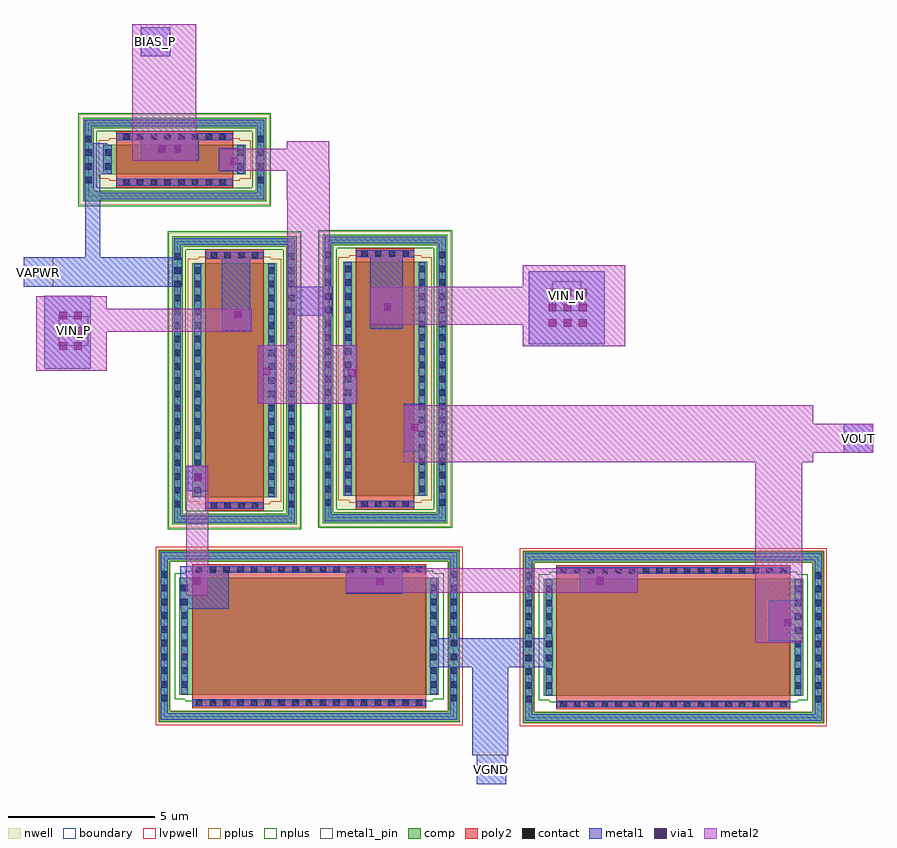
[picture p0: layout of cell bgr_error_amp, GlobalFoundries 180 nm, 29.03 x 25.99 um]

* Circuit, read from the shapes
.subckt bgr_error_amp BIAS_P VAPWR VGND VIN_N VIN_P VOUT
XM1 VGND n1 n1 VGND nfet_03v3 w=4u l=8u
XM2 VOUT n1 VGND VGND nfet_03v3 w=4u l=8u
XM3 n2 BIAS_P VAPWR VAPWR pfet_03v3 w=1u l=4u
XM4 n2 VIN_P n1 VAPWR pfet_03v3 w=8u l=2u
XM5 VOUT VIN_N n2 VAPWR pfet_03v3 w=8u l=2u
.ends

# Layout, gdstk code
from math import pi, radians
import gdstk
lib = gdstk.Library(unit=1e-6, precision=1e-09)
def R(c, l, rs):  # rectangles x0, y0, x1, y1
    for r in rs: c.add(gdstk.rectangle(r[:2], r[2:], *l))
def A(c, l, x, y, w, h, nx, ny, dx, dy):  # array of equal rectangles
    R(c, l, [(x+i*dx, y+j*dy, x+i*dx+w, y+j*dy+h) for i in range(nx) for j in range(ny)])
boundary = (0, 0)
nwell = (21, 0)
comp = (22, 0)
poly2 = (30, 0)
pplus = (31, 0)
nplus = (32, 0)
contact = (33, 0)
metal1 = (34, 0)
metal1_pin = (34, 10)
via1 = (35, 0)
metal2 = (36, 0)
lvpwell = (204, 0)

pfet_03v3_khy8t4 = lib.new_cell('pfet_03v3_KHY8T4')
R(pfet_03v3_khy8t4, boundary, [(-1.95,-4.75,1.95,4.75)])
R(pfet_03v3_khy8t4, nwell, [(-2.25,-5.05,2.25,5.05)])
R(pfet_03v3_khy8t4, comp, [(-2.13,-4.93,2.13,-4.57), (-2.13,-4.57,-1.77,4.57), (1.77,-4.57,2.13,4.57), (-1.44,-4,1.44,4), (-2.13,4.57,2.13,4.93)])
R(pfet_03v3_khy8t4, poly2, [(-1,-4.46,1,4.46)])
R(pfet_03v3_khy8t4, pplus, [(-1.23,-4.23,1.23,-4.16), (-1.6,-4.16,1.6,4.16), (-1.23,4.16,1.23,4.23)])
R(pfet_03v3_khy8t4, nplus, [(-2.29,-5.09,2.29,-4.46), (-2.29,-4.46,-1.66,4.46), (1.66,-4.46,2.29,4.46), (-2.29,4.46,2.29,5.09)])
A(pfet_03v3_khy8t4, contact, -0.815, -4.39, 0.22, 0.22, 4, 2, 0.47, 8.56)
A(pfet_03v3_khy8t4, contact, -2.06, -4.34, 0.22, 0.22, 1, 19, 0, 0.47)
A(pfet_03v3_khy8t4, contact, 1.84, -4.34, 0.22, 0.22, 1, 19, 0, 0.47)
A(pfet_03v3_khy8t4, contact, -1.37, -3.87, 0.22, 0.22, 1, 17, 0, 0.47)
A(pfet_03v3_khy8t4, contact, 1.15, -3.87, 0.22, 0.22, 1, 17, 0, 0.47)
R(pfet_03v3_khy8t4, metal1, [(-2.065,-4.865,2.065,-4.635), (-2.065,-4.635,-1.835,4.635), (1.835,-4.635,2.065,4.635), (-0.99,-4.395,0.99,-4.165), (-1.375,-3.99,-1.145,3.99), (1.145,-3.99,1.375,3.99), (-0.99,4.165,0.99,4.395), (-2.065,4.635,2.065,4.865)])

nfet_03v3_2876u5 = lib.new_cell('nfet_03v3_2876U5')
R(nfet_03v3_2876u5, boundary, [(-4.95,-2.75,4.95,2.75)])
R(nfet_03v3_2876u5, comp, [(-5.13,-2.93,5.13,-2.57), (-5.13,-2.57,-4.77,2.57), (4.77,-2.57,5.13,2.57), (-4.44,-2,4.44,2), (-5.13,2.57,5.13,2.93)])
R(nfet_03v3_2876u5, poly2, [(-4,-2.46,4,2.46)])
R(nfet_03v3_2876u5, pplus, [(-5.15,-2.95,5.15,-2.55), (-5.15,-2.55,-4.74,-2.445), (4.74,-2.55,5.15,-2.445), (-5.16,-2.445,-4.74,2.445), (4.74,-2.445,5.16,2.445), (-5.15,2.445,-4.74,2.55), (4.74,2.445,5.15,2.55), (-5.15,2.55,5.15,2.95)])
R(nfet_03v3_2876u5, nplus, [(-4.23,-2.23,4.23,-2.16), (-4.6,-2.16,4.6,2.16), (-4.23,2.16,4.23,2.23)])
A(nfet_03v3_2876u5, contact, -3.87, -2.39, 0.22, 0.22, 17, 2, 0.47, 4.56)
A(nfet_03v3_2876u5, contact, -5.06, -2.225, 0.22, 0.22, 1, 10, 0, 0.47)
A(nfet_03v3_2876u5, contact, 4.84, -2.225, 0.22, 0.22, 1, 10, 0, 0.47)
A(nfet_03v3_2876u5, contact, -4.37, -1.755, 0.22, 0.22, 1, 8, 0, 0.47)
A(nfet_03v3_2876u5, contact, 4.15, -1.755, 0.22, 0.22, 1, 8, 0, 0.47)
R(nfet_03v3_2876u5, metal1, [(-5.065,-2.865,5.065,-2.635), (-5.065,-2.635,-4.835,2.635), (4.835,-2.635,5.065,2.635), (-3.99,-2.395,3.99,-2.165), (-4.375,-1.99,-4.145,1.99), (4.145,-1.99,4.375,1.99), (-3.99,2.165,3.99,2.395), (-5.065,2.635,5.065,2.865)])
R(nfet_03v3_2876u5, lvpwell, [(-5.25,-3.05,5.25,3.05)])

pfet_03v3_c49jpw = lib.new_cell('pfet_03v3_C49JPW')
R(pfet_03v3_c49jpw, boundary, [(-2.95,-1.25,2.95,1.25)])
R(pfet_03v3_c49jpw, nwell, [(-3.25,-1.55,3.25,1.55)])
R(pfet_03v3_c49jpw, comp, [(-3.13,-1.43,3.13,-1.07), (-3.13,-1.07,-2.77,1.07), (2.77,-1.07,3.13,1.07), (-2.44,-0.5,2.44,0.5), (-3.13,1.07,3.13,1.43)])
R(pfet_03v3_c49jpw, poly2, [(-2,-0.96,2,0.96)])
R(pfet_03v3_c49jpw, pplus, [(-2.23,-0.73,2.23,-0.66), (-2.6,-0.66,2.6,0.66), (-2.23,0.66,2.23,0.73)])
R(pfet_03v3_c49jpw, nplus, [(-3.29,-1.59,3.29,-0.96), (-3.29,-0.96,-2.66,0.96), (2.66,-0.96,3.29,0.96), (-3.29,0.96,3.29,1.59)])
A(pfet_03v3_c49jpw, contact, -1.755, -0.89, 0.22, 0.22, 8, 2, 0.47, 1.56)
A(pfet_03v3_c49jpw, contact, -3.06, -0.815, 0.22, 0.22, 1, 4, 0, 0.47)
A(pfet_03v3_c49jpw, contact, 2.84, -0.815, 0.22, 0.22, 1, 4, 0, 0.47)
R(pfet_03v3_c49jpw, contact, [(-2.37,-0.345,-2.15,-0.125), (2.15,-0.345,2.37,-0.125), (-2.37,0.125,-2.15,0.345), (2.15,0.125,2.37,0.345)])
R(pfet_03v3_c49jpw, metal1, [(-3.065,-1.365,3.065,-1.135), (-3.065,-1.135,-2.835,1.135), (2.835,-1.135,3.065,1.135), (-1.99,-0.895,1.99,-0.665), (-2.375,-0.49,-2.145,0.49), (2.145,-0.49,2.375,0.49), (-1.99,0.665,1.99,0.895), (-3.065,1.135,3.065,1.365)])

bgr_error_amp = lib.new_cell('bgr_error_amp')
R(bgr_error_amp, metal1, [(20.49,-13.005,21.49,-12.015), (20.325,-12.015,21.565,-9.01), (18.875,-9.01,23.075,-8.015), (30.47,-8.13,31.62,-6.72), (10.35,-7.005,12,-5.56), (16,-6.5,17.96,-5.55), (24.005,-6.47,25.995,-5.635), (10.595,-2.995,11.3,-2.14), (33.035,-1.68,34.035,-0.68), (17.985,-1.645,18.73,-0.005), (13,0,13.6,2), (15.95,0,16.4,2), (5.69,1.19,7.29,3.69), (22.265,2.035,24.865,4.535), (11.765,2.49,12.73,5.18), (16.835,2.57,17.96,5.235), (14,3,15.55,4), (5,4,10.4,5), (7.1,5,7.6,7.85), (7.1,7.85,7.85,8.9), (11.665,7.945,12.525,8.735), (8.99,8.31,10.97,9.22), (8.995,11.875,9.995,12.875)])
R(bgr_error_amp, metal1_pin, [(20.49,-13.005,21.49,-12.005), (33.035,-1.68,34.035,-0.68), (6.19,1.99,7.19,2.99), (23.065,3.185,24.065,4.185), (5,4,6,5), (8.995,11.875,9.995,12.875)])
A(bgr_error_amp, via1, 6.2, 1.84, 0.26, 0.26, 1, 3, 0, 0.52)
A(bgr_error_amp, via1, 6.72, 1.84, 0.26, 0.26, 1, 3, 0, 0.52)
A(bgr_error_amp, via1, 22.94, 2.635, 0.26, 0.26, 3, 3, 0.52, 0.52)
R(bgr_error_amp, via1, [(30.98,-7.61,31.24,-7.35), (17.055,-6.21,17.315,-5.95), (10.785,-6.195,11.045,-5.935), (24.57,-6.185,24.83,-5.925), (10.825,-2.65,11.085,-2.39), (33.43,-1.335,33.69,-1.075), (18.23,-0.95,18.49,-0.69), (16.07,0.92,16.33,1.18), (13.17,0.97,13.43,1.23), (12.185,2.925,12.445,3.185), (17.3,3.185,17.56,3.445), (12.045,8.165,12.305,8.425), (9.6,8.59,9.86,8.85), (10.12,8.59,10.38,8.85), (9.405,12.255,9.665,12.515)])
R(bgr_error_amp, metal2, [(30.005,-8.175,31.62,-2), (10.55,-6.575,11.3,-2.13), (16.01,-6.46,25.985,-5.635), (17.995,-2,31.99,-1.68), (17.995,-1.68,34.035,-0.68), (17.995,-0.68,31.99,-0.05), (13,0,16.4,2), (5.415,1.135,7.835,2.46), (22.05,1.965,25.57,2.695), (14,2,15.45,6.985), (5.415,2.46,12.785,3.245), (16.825,2.695,25.57,4), (5.415,3.245,7.835,3.68), (5.69,3.68,7.34,3.69), (22.05,4,25.57,4.735), (13.985,6.985,15.45,7.965), (11.68,7.965,15.45,8), (11.68,8,15.435,8.72), (8.705,8.31,10.895,12.985), (13.985,8.72,15.435,8.98)])
bgr_error_amp.add(gdstk.Reference(pfet_03v3_khy8t4, (12.2,0.8), rotation=pi))
bgr_error_amp.add(gdstk.Reference(nfet_03v3_2876u5, (27.21,-7.985)))
bgr_error_amp.add(gdstk.Reference(pfet_03v3_khy8t4, (17.35,0.85), rotation=pi))
bgr_error_amp.add(gdstk.Reference(nfet_03v3_2876u5, (14.75,-7.95)))
bgr_error_amp.add(gdstk.Reference(pfet_03v3_c49jpw, (10.15,8.35)))
bgr_error_amp.add(gdstk.Label('VGND', (20.99,-12.505), layer=34, texttype=10))
bgr_error_amp.add(gdstk.Label('VOUT', (33.535,-1.18), layer=34, texttype=10))
bgr_error_amp.add(gdstk.Label('VIN_N', (23.565,3.685), layer=34, texttype=10))
bgr_error_amp.add(gdstk.Label('VAPWR', (5.5,4.5), layer=34, texttype=10))
bgr_error_amp.add(gdstk.Label('VIN_P', (6.69,2.49), layer=34, texttype=10))
bgr_error_amp.add(gdstk.Label('BIAS_P', (9.495,12.375), layer=34, texttype=10))

lib.write_gds('bgr_error_amp.gds')
